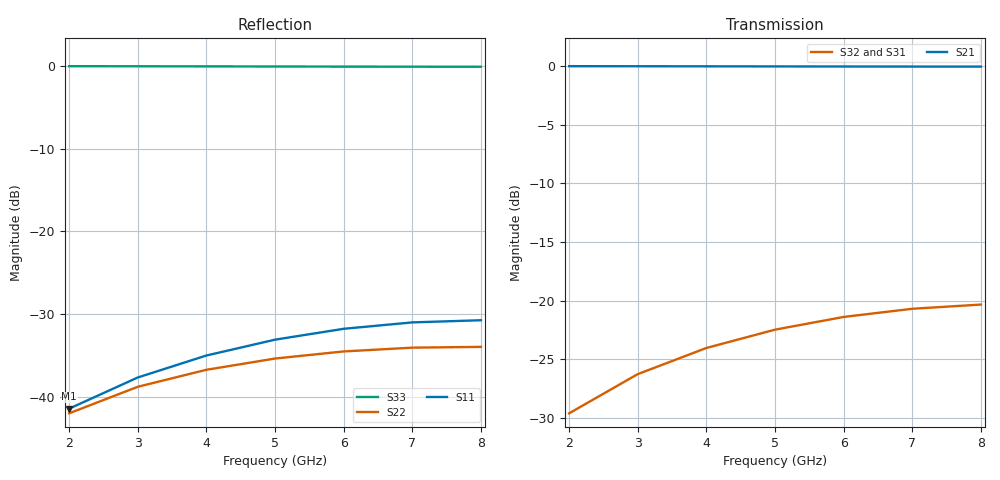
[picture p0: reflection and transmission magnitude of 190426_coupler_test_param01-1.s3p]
! Sonnet Data File
! From: emgraph Version : 16.56
! From Project: 190426_coupler_test
! Data is De-embedded
! Data File Written: 05/06/2019 15:59:44
!< HDATE 04/25/2019 10:48:44
!< MDATE 04/25/2019 10:59:35
!< PARAMS
!< tandelta = 0.0
!< t_aSi = 0.25
!< W = 10.0
!< Lcoupler = 3400.0
!< END PARAMS
# GHZ S MA R 50.0 !  non standard terminations in data
! TERM 50.00000 0.000000 50.00000 0.000000 63.84000 0.000000
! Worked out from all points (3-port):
!   7 points, 2 GHz to 8 GHz, reference 50 ohm
!   strongest paths, dB at 2 GHz, 3 GHz, 5 GHz, 7 GHz, 8 GHz:
!     S21: 0.0, 0.0, 0.0, 0.0, 0.0
!     S32: -29.6, -26.3, -22.5, -20.7, -20.3
!     S31: -29.7, -26.3, -22.6, -20.9, -20.6
!   lowest |S11| = -41.5 dB at 2 GHz (marker M1), VSWR 1.02, Z = 50.2 + j0.818 ohm
!   |S11| at or under -10 dB: start of sweep to end of sweep
2  0.008448 74.5  0.9994 -21.8  0.03292 42.6
   0.9994 -21.8  0.007919 68.7  0.03305 68.8
   0.03292 42.6  0.03305 68.8  0.9989 -47.3
3  0.01304 64.8  0.9988 -32.6  0.04817 18.9
   0.9988 -32.6  0.01146 58.1  0.04857 58.0
   0.04817 18.9  0.04857 58.0  0.9977 -71.1
4  0.01772 53.5  0.9979 -43.5  0.06196 -4.9
   0.9979 -43.5  0.01452 47.5  0.06278 47.0
   0.06196 -4.9  0.06278 47.0  0.9961 -95.0
5  0.0221 40.9  0.997 -54.3  0.07382 -28.8
   0.997 -54.3  0.01699 37.0  0.07516 35.8
   0.07382 -28.8  0.07516 35.8  0.9944 -119.1
6  0.02571 27.2  0.9962 -65.1  0.08331 -52.6
   0.9962 -65.1  0.01876 26.6  0.08515 24.5
   0.08331 -52.6  0.08515 24.5  0.9929 -143.4
7  0.02811 12.8  0.9955 -75.9  0.09008 -76.5
   0.9955 -75.9  0.01977 16.2  0.09227 13.0
   0.09008 -76.5  0.09227 13.0  0.9917 -167.7
8  0.02897 -2.1  0.9952 -86.7  0.09384 -100.4
   0.9952 -86.7  0.01999 5.9  0.09616 1.5
   0.09384 -100.4  0.09616 1.5  0.9909 167.9
